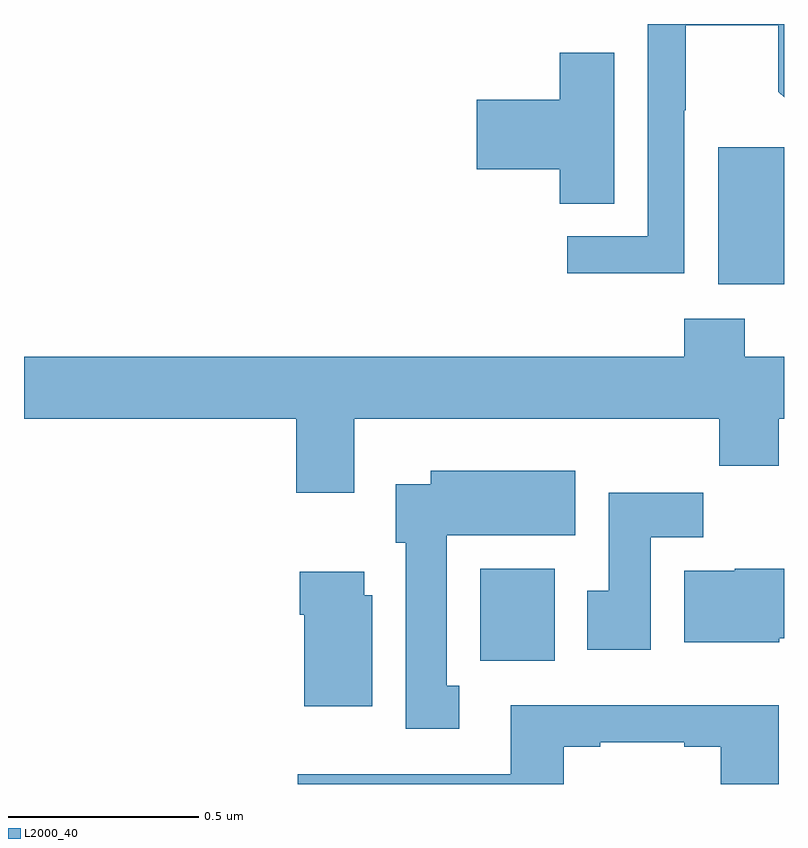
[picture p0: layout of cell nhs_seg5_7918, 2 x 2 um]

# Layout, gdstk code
import gdstk
lib = gdstk.Library(unit=1e-6, precision=1e-09)
def R(c, l, rs):  # rectangles x0, y0, x1, y1
    for r in rs: c.add(gdstk.rectangle(r[:2], r[2:], *l))
def P(c, l, *ps):  # polygons
    for p in ps: c.add(gdstk.Polygon(p, *l))
L2000_40 = (2000, 40)

nhs_seg5_7918 = lib.new_cell('nhs_seg5_7918')
R(nhs_seg5_7918, L2000_40, [(216.2,856.124,216.397,856.366), (216.827,857.114,217,857.475)])
P(nhs_seg5_7918, L2000_40, [(216.738,857.572),(216.741,857.572),(216.741,857.796),(216.985,857.796),(216.985,857.621),(217,857.606),(217,857.799),(216.642,857.799),(216.642,857.241),(216.429,857.241),(216.429,857.143),(216.738,857.143)],
  [(216.553,857.723),(216.41,857.723),(216.41,857.6),(216.192,857.6),(216.192,857.417),(216.41,857.417),(216.41,857.326),(216.553,857.326)],
  [(215.869,856.76),(216.829,856.76),(216.829,856.636),(216.986,856.636),(216.986,856.76),(217,856.76),(217,856.924),(216.897,856.924),(216.897,857.023),(216.737,857.023),(216.737,856.924),(215,856.924),(215,856.76),(215.717,856.76),(215.717,856.566),(215.869,856.566)],
  [(216.145,856.058),(216.112,856.058),(216.112,856.454),(216.451,856.454),(216.451,856.624),(216.071,856.624),(216.071,856.588),(215.978,856.588),(215.978,856.434),(216.005,856.434),(216.005,855.945),(216.145,855.945)],
  [(216.649,856.448),(216.788,856.448),(216.788,856.566),(216.539,856.566),(216.539,856.308),(216.482,856.308),(216.482,856.152),(216.649,856.152)],
  [(216.988,856.183),(217,856.183),(217,856.366),(216.87,856.366),(216.87,856.36),(216.737,856.36),(216.737,856.172),(216.988,856.172)],
  [(215.917,856.296),(215.896,856.296),(215.896,856.357),(215.726,856.357),(215.726,856.244),(215.738,856.244),(215.738,856.004),(215.917,856.004)],
  [(216.421,855.897),(216.517,855.897),(216.517,855.909),(216.737,855.909),(216.737,855.897),(216.833,855.897),(216.833,855.799),(216.986,855.799),(216.986,856.006),(216.281,856.006),(216.281,855.825),(215.721,855.825),(215.721,855.799),(216.421,855.799)])

lib.write_gds('nhs_seg5_7918.gds')
